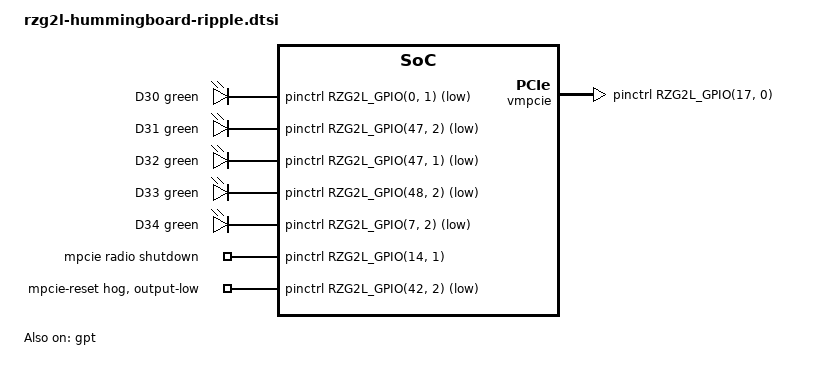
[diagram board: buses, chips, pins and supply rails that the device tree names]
// SPDX-License-Identifier: (GPL-2.0-only OR BSD-2-Clause)
/*
 * Copyright 2025 Josua Mayer <josua@solid-run.com>
 */

/ {
	aliases {
		/* this board does not use second phy / ethernet on SoM */
		/delete-property/ ethernet1;
	};

	leds {
		compatible = "gpio-leds";

		led-0 {
			color = <LED_COLOR_ID_GREEN>;
			default-state = "on";
			gpios = <&pinctrl RZG2L_GPIO(0, 1) GPIO_ACTIVE_LOW>;
			label = "D30";
		};

		led-1 {
			color = <LED_COLOR_ID_GREEN>;
			default-state = "on";
			gpios = <&pinctrl RZG2L_GPIO(47, 2) GPIO_ACTIVE_LOW>;
			label = "D31";
		};

		led-2 {
			color = <LED_COLOR_ID_GREEN>;
			default-state = "on";
			gpios = <&pinctrl RZG2L_GPIO(47, 1) GPIO_ACTIVE_LOW>;
			label = "D32";
		};

		led-3 {
			color = <LED_COLOR_ID_GREEN>;
			default-state = "on";
			gpios = <&pinctrl RZG2L_GPIO(48, 2) GPIO_ACTIVE_LOW>;
			label = "D33";
		};

		led-4 {
			color = <LED_COLOR_ID_GREEN>;
			default-state = "on";
			gpios = <&pinctrl RZG2L_GPIO(7, 2) GPIO_ACTIVE_LOW>;
			label = "D34";
		};
	};

	rfkill-mpcie {
		/* rfkill-gpio inverts internally */
		shutdown-gpios = <&pinctrl RZG2L_GPIO(14, 1) GPIO_ACTIVE_HIGH>;
		label = "mpcie radio";
		/*
		 * The mpcie connector only has USB,
		 * therefore this rfkill is for cellular radios only.
		 */
		radio-type = "wwan";
		compatible = "rfkill-gpio";
	};
};

&eth1 {
	/* this board does not use second phy / ethernet on SoM */
	status = "disabled";
};

&gpt {
	/* mikrobus header pwm pin is pwm channel 6 */
	pinctrl-0 = <&mikro_pwm_pins>;
	pinctrl-names = "default";
	status = "okay";
};

&hdmi {
	interrupts-extended = <&pinctrl RZG2L_GPIO(9, 1) IRQ_TYPE_EDGE_FALLING>;
	pd-gpios = <&pinctrl RZG2L_GPIO(3, 0) GPIO_ACTIVE_LOW>;
};

&hub_2_0 {
	reset-gpios = <&pinctrl RZG2L_GPIO(39, 1) GPIO_ACTIVE_LOW>;
};

&pinctrl {
	mpcie_rst_hog: mpcie-reset-hog {
		gpios = <RZG2L_GPIO(42, 2) GPIO_ACTIVE_LOW>;
		gpio-hog;
		line-name = "mpcie-reset";
		output-low;
	};

	mikro_pwm_pins: pinctrl-mikro-pwm-grp {
		pinmux = <RZG2L_PORT_PINMUX(41, 0, 4)>; /* GTIOC3A */
	};

	mikro_uart_pins: pinctrl-mikro-uart-grp {
		pinmux = <RZG2L_PORT_PINMUX(40, 1, 1)>, /* SCIF1_RXD */
			 <RZG2L_PORT_PINMUX(40, 0, 1)>; /* SCIF1_TXD */
	};

	usb0_vbus_pins: usb0-vbus {
		pinmux = <RZG2L_PORT_PINMUX(4, 0, 1)>; /* USB0_VBUSEN */
	};

	usb1_vbus_pins: usb1-vbus {
		pinmux = <RZG2L_PORT_PINMUX(42, 0, 1)>; /* USB1_VBUSEN */
	};
};

&usb2_phy1 {
	pinctrl-0 = <&usb1_vbus_pins>;
	pinctrl-names = "default";
};

&vmmc {
	gpios = <&pinctrl RZG2L_GPIO(4, 1) GPIO_ACTIVE_LOW>;
};

&vmpcie {
	gpios = <&pinctrl RZG2L_GPIO(17, 0) GPIO_ACTIVE_HIGH>;
};
